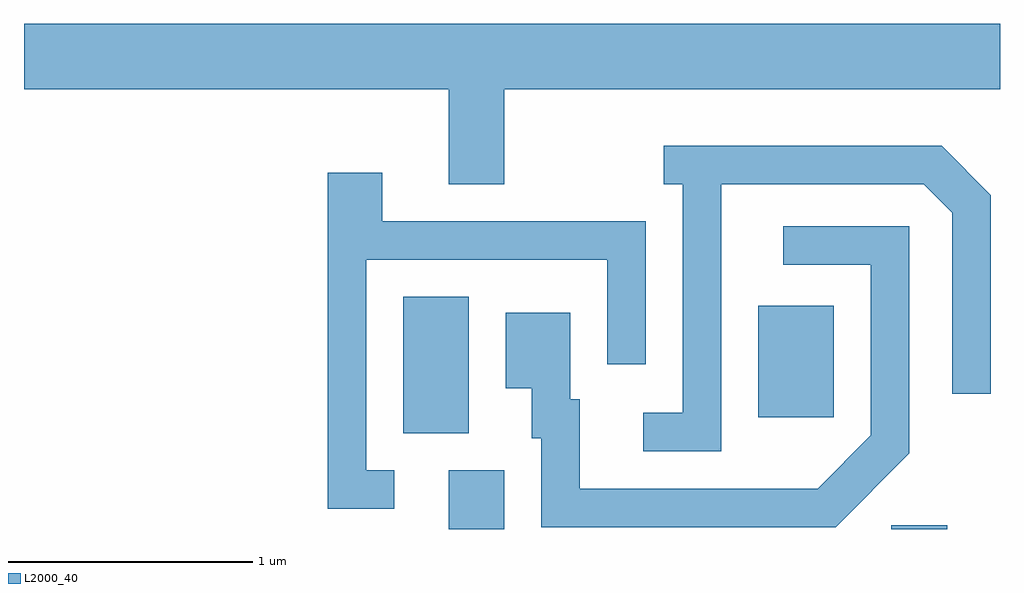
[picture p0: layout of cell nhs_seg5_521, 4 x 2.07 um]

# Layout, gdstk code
import gdstk
lib = gdstk.Library(unit=1e-6, precision=1e-09)
def R(c, l, rs):  # rectangles x0, y0, x1, y1
    for r in rs: c.add(gdstk.rectangle(r[:2], r[2:], *l))
def P(c, l, *ps):  # polygons
    for p in ps: c.add(gdstk.Polygon(p, *l))
L2000_40 = (2000, 40)

nhs_seg5_521 = lib.new_cell('nhs_seg5_521')
R(nhs_seg5_521, L2000_40, [(201.351,1486.072,201.579,1486.314), (203.166,1486.072,203.394,1486.089), (201.166,1486.466,201.434,1487.024), (202.621,1486.531,202.929,1486.989)])
P(nhs_seg5_521, L2000_40, [(201.579,1487.876),(203.611,1487.876),(203.611,1488.144),(199.611,1488.144),(199.611,1487.876),(201.351,1487.876),(201.351,1487.486),(201.579,1487.486)],
  [(202.469,1487.486),(203.299,1487.486),(203.416,1487.369),(203.416,1486.628),(203.574,1486.628),(203.574,1487.442),(203.372,1487.644),(202.233,1487.644),(202.233,1487.486),(202.311,1487.486),(202.311,1486.549),(202.148,1486.549),(202.148,1486.391),(202.469,1486.391)],
  [(201.128,1486.314),(201.014,1486.314),(201.014,1487.176),(202.001,1487.176),(202.001,1486.748),(202.159,1486.748),(202.159,1487.334),(201.079,1487.334),(201.079,1487.534),(200.856,1487.534),(200.856,1486.156),(201.128,1486.156)],
  [(203.239,1486.384),(203.239,1487.314),(202.723,1487.314),(202.723,1487.156),(203.081,1487.156),(203.081,1486.457),(202.864,1486.239),(201.889,1486.239),(201.889,1486.604),(201.849,1486.604),(201.849,1486.959),(201.586,1486.959),(201.586,1486.651),(201.691,1486.651),(201.691,1486.446),(201.731,1486.446),(201.731,1486.081),(202.937,1486.081)])

lib.write_gds('nhs_seg5_521.gds')
